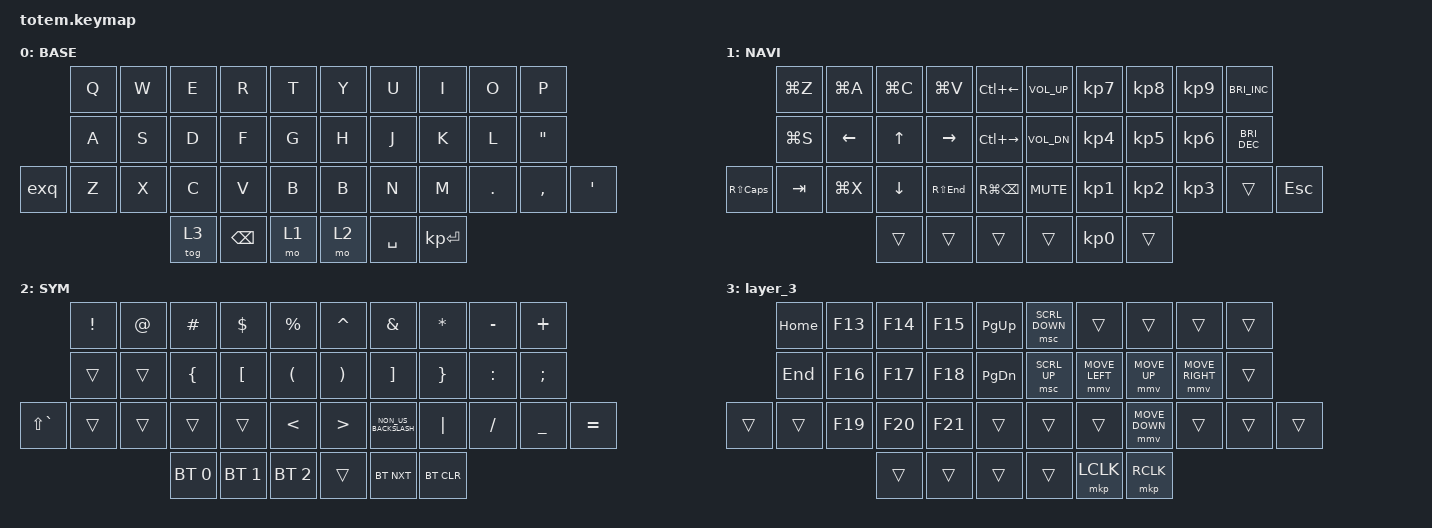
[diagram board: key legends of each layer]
//trigger build
//                                                        ▀▀▀▀▀     ▀▀▀▀▀          ▀▀█▀▀
//                                                        ▄▀▀▀▄  ▄  ▄▀▀▀▄  ▄  ▄▀▀▀▄  █  ▄▀▀▀▄
//                                                        █   █  █  █   █  █  █   █  █  █   █
//                                                         ▀▀▀   █   ▀▀▀   █   ▀▀▀   ▀   ▀▀▀
//                                                               █      ▄▄▄█▄▄▄    █   █  
//                                                               ▀      █  █  █     █▄█
//                                                             ▀▀▀▀▀    █  █  █      ▀
//                                                                      ▀  ▀  ▀
//
// ▄▄▄▄▄▄▄▄▄▄▄▄▄▄▄▄▄▄▄▄▄▄▄▄▄▄▄▄▄▄▄▄▄▄▄▄▄▄▄▄▄▄▄▄▄▄▄▄▄▄▄▄▄▄▄▄▄▄▄▄▄▄▄▄▄▄▄▄▄▄▄▄▄▄▄▄▄▄▄▄▄▄▄▄▄▄▄▄▄▄▄▄▄▄▄▄▄▄▄▄▄▄▄▄▄▄▄▄▄▄▄▄▄▄▄▄▄▄▄▄▄▄▄▄▄▄▄▄▄▄▄▄▄▄▄▄▄▄▄▄▄▄▄▄▄▄▄▄▄

#include <behaviors.dtsi>
#include <dt-bindings/zmk/bt.h>
#include <dt-bindings/zmk/keys.h>
#include <dt-bindings/zmk/pointing.h>

#define BASE 0
#define NAV  1
#define SYM  2
#define ADJ  3
#define TVP1 4
#define TVP2 5

&mt {
    quick-tap-ms = <100>;
    global-quick-tap;
    flavor = "tap-preferred";
    tapping-term-ms = <170>;
};

/ {
    combos {
        compatible = "zmk,combos";

        shiftQ {
            bindings = <&kp RS(Q)>;
            key-positions = <0 10>;
        };

        shiftW {
            bindings = <&kp RS(W)>;
            key-positions = <1 11>;
        };

        shiftE {
            bindings = <&kp RS(E)>;
            key-positions = <2 12>;
        };

        shiftR {
            bindings = <&kp RS(R)>;
            key-positions = <3 13>;
        };

        shiftT {
            bindings = <&kp RS(T)>;
            key-positions = <4 14>;
        };

        shiftO {
            bindings = <&kp LS(O)>;
            key-positions = <8 18>;
        };

        shiftP {
            bindings = <&kp LS(P)>;
            key-positions = <9 19>;
        };

        caps {
            bindings = <&kp CAPS>;
            key-positions = <13 14>;
        };
    };

    macros {
        gif: gif {
            label = "giphy";
            compatible = "zmk,behavior-macro";
            #binding-cells = <0>;
            bindings =
                <&macro_press>,
                <&kp LSHFT>,
                <&macro_tap>,
                <&kp N2>,
                <&macro_release>,
                <&kp LSHFT>,
                <&macro_tap>,
                <&kp G &kp I &kp F>;
        };
    };

    behaviors {
        exq: exq {
            compatible = "zmk,behavior-tap-dance";
            label = "EXQ";
            #binding-cells = <0>;
            bindings = <&kp EXCLAMATION>, <&kp QUESTION>;

            tapping-term-ms = <300>;
        };
    };

    keymap {
        compatible = "zmk,keymap";

        // ▄▄▄▄▄▄▄▄▄▄▄▄▄▄▄▄▄▄▄▄▄▄▄▄▄▄▄▄▄▄▄▄▄▄▄▄▄▄▄▄▄▄▄▄▄▄▄▄▄▄▄▄▄▄▄▄▄▄▄▄▄▄▄▄▄▄▄▄▄▄▄▄▄▄▄▄▄▄▄▄▄▄▄▄▄▄▄▄▄▄▄▄▄▄▄▄▄▄▄▄▄▄▄▄▄▄▄▄▄▄▄▄▄▄▄▄▄▄▄▄▄▄▄▄▄▄▄▄▄▄▄▄▄▄▄▄▄▄▄▄▄▄▄▄▄▄▄▄▄

        base_layer {
            // ┏━━━━━━━━━━━━━━━━━━━━━━━━━━━━━━━━━━━━━━━┓

            label = "BASE";

            // ┗━━━━━━━━━━━━━━━━━━━━━━━━━━━━━━━━━━━━━━━┛
            //             ┏━━━━━━━━━━━┳━━━━━━━━━━━┳━━━━━━━━━━━┳━━━━━━━━━━━┳━━━━━━━━━━━┓   ┏━━━━━━━━━━━┳━━━━━━━━━━━┳━━━━━━━━━━━┳━━━━━━━━━━━┳━━━━━━━━━━━┓
            //             ┃     Q     ┃     W     ┃     F     ┃     P     ┃     G     ┃   ┃     J     ┃     L     ┃     U     ┃     Y     ┃     ;     ┃
            //             ┣━━━━━━━━━━━╋━━━━━━━━━━━╋━━━━━━━━━━━╋━━━━━━━━━━━╋━━━━━━━━━━━┫   ┣━━━━━━━━━━━╋━━━━━━━━━━━╋━━━━━━━━━━━╋━━━━━━━━━━━╋━━━━━━━━━━━┫
            //             ┃     A     ┃     R     ┃     S     ┃     T     ┃     D     ┃   ┃     H     ┃     N     ┃     E     ┃     I     ┃     O     ┃
            // ┏━━━━━━━━━━━╋━━━━━━━━━━━╋━━━━━━━━━━━╋━━━━━━━━━━━╋━━━━━━━━━━━╋━━━━━━━━━━━┫   ┣━━━━━━━━━━━╋━━━━━━━━━━━╋━━━━━━━━━━━╋━━━━━━━━━━━╋━━━━━━━━━━━╋━━━━━━━━━━━┓
            // ┃     Q     ┃     Z     ┃     X     ┃     C     ┃     V     ┃     B     ┃   ┃     K     ┃     M     ┃     ,     ┃     .     ┃     /     ┃     \     ┃
            // ┗━━━━━━━━━━━┻━━━━━━━━━━━┻━━━━━━━━━━━╋━━━━━━━━━━━╋━━━━━━━━━━━╋━━━━━━━━━━━┫   ┣━━━━━━━━━━━╋━━━━━━━━━━━╋━━━━━━━━━━━╋━━━━━━━━━━━┻━━━━━━━━━━━┻━━━━━━━━━━━┛
            //                                     ┃    DEL    ┃    TAB    ┃    SPC    ┃   ┃   ENTER   ┃           ┃   BSPC    ┃
            //                                     ┗━━━━━━━━━━━┻━━━━━━━━━━━┻━━━━━━━━━━━┛   ┗━━━━━━━━━━━┻━━━━━━━━━━━┻━━━━━━━━━━━┛

            bindings = <
      &kp Q  &kp W  &kp E   &kp R          &kp T    &kp Y  &kp U      &kp I         &kp O    &kp P
      &kp A  &kp S  &kp D   &kp F          &kp G    &kp H  &kp J      &kp K         &kp L    &kp DOUBLE_QUOTES
&exq  &kp Z  &kp X  &kp C   &kp V          &kp B    &kp B  &kp N      &kp M         &kp DOT  &kp COMMA          &kp SQT
                    &tog 3  &kp BACKSPACE  &mo 1    &mo 2  &kp SPACE  &kp KP_ENTER
            >;
        };

        // ▄▄▄▄▄▄▄▄▄▄▄▄▄▄▄▄▄▄▄▄▄▄▄▄▄▄▄▄▄▄▄▄▄▄▄▄▄▄▄▄▄▄▄▄▄▄▄▄▄▄▄▄▄▄▄▄▄▄▄▄▄▄▄▄▄▄▄▄▄▄▄▄▄▄▄▄▄▄▄▄▄▄▄▄▄▄▄▄▄▄▄▄▄▄▄▄▄▄▄▄▄▄▄▄▄▄▄▄▄▄▄▄▄▄▄▄▄▄▄▄▄▄▄▄▄▄▄▄▄▄▄▄▄▄▄▄▄▄▄▄▄▄▄▄▄▄▄▄▄

        nav_layer {
            // ┏━━━━━━━━━━━━━━━━━━━━━━━━━━━━━━━━━━━━━━━┓

            label = "NAVI";

            // ┗━━━━━━━━━━━━━━━━━━━━━━━━━━━━━━━━━━━━━━━┛
            //             ┏━━━━━━━━━━━┳━━━━━━━━━━━┳━━━━━━━━━━━┳━━━━━━━━━━━┳━━━━━━━━━━━┓   ┏━━━━━━━━━━━┳━━━━━━━━━━━┳━━━━━━━━━━━┳━━━━━━━━━━━┳━━━━━━━━━━━┓
            //             ┃           ┃           ┃     UP    ┃           ┃     {     ┃   ┃     }     ┃     7     ┃     8     ┃     9     ┃     +     ┃
            //             ┣━━━━━━━━━━━╋━━━━━━━━━━━╋━━━━━━━━━━━╋━━━━━━━━━━━╋━━━━━━━━━━━┫   ┣━━━━━━━━━━━╋━━━━━━━━━━━╋━━━━━━━━━━━╋━━━━━━━━━━━╋━━━━━━━━━━━┫
            //             ┃   SHIFT   ┃   LEFT    ┃    DOWN   ┃   RIGHT   ┃     [     ┃   ┃     ]     ┃     4     ┃     5     ┃     6     ┃     -     ┃
            // ┏━━━━━━━━━━━╋━━━━━━━━━━━╋━━━━━━━━━━━╋━━━━━━━━━━━╋━━━━━━━━━━━╋━━━━━━━━━━━┫   ┣━━━━━━━━━━━╋━━━━━━━━━━━╋━━━━━━━━━━━╋━━━━━━━━━━━╋━━━━━━━━━━━╋━━━━━━━━━━━┓
            // ┃           ┃           ┃   P UP    ┃  C LOCK   ┃  P DOWN   ┃     (     ┃   ┃     )     ┃     1     ┃     2     ┃     3     ┃     *     ┃           ┃
            // ┗━━━━━━━━━━━┻━━━━━━━━━━━┻━━━━━━━━━━━╋━━━━━━━━━━━╋━━━━━━━━━━━╋━━━━━━━━━━━┫   ┣━━━━━━━━━━━╋━━━━━━━━━━━╋━━━━━━━━━━━╋━━━━━━━━━━━┻━━━━━━━━━━━┻━━━━━━━━━━━┛
            //                                     ┃           ┃    TAB    ┃    SPC    ┃   ┃    DEL    ┃     0     ┃           ┃
            //                                     ┗━━━━━━━━━━━┻━━━━━━━━━━━┻━━━━━━━━━━━┛   ┗━━━━━━━━━━━┻━━━━━━━━━━━┻━━━━━━━━━━━┛

            bindings = <
              &kp LG(Z)  &kp LG(A)  &kp LG(C)  &kp LG(V)    &kp LC(LEFT)         &kp C_VOL_UP  &kp KP_N7  &kp KP_N8  &kp KP_N9  &kp C_BRI_INC
              &kp LG(S)  &kp LEFT   &kp UP     &kp RIGHT    &kp LC(RIGHT)        &kp C_VOL_DN  &kp KP_N4  &kp KP_N5  &kp KP_N6  &kp C_BRI_DEC
&kp RS(CAPS)  &kp TAB    &kp LG(X)  &kp DOWN   &kp RS(END)  &kp RG(BACKSPACE)    &kp K_MUTE    &kp KP_N1  &kp KP_N2  &kp KP_N3  &trans         &kp ESC
                                    &trans     &trans       &trans               &trans        &kp KP_N0  &trans
            >;
        };

        // ▄▄▄▄▄▄▄▄▄▄▄▄▄▄▄▄▄▄▄▄▄▄▄▄▄▄▄▄▄▄▄▄▄▄▄▄▄▄▄▄▄▄▄▄▄▄▄▄▄▄▄▄▄▄▄▄▄▄▄▄▄▄▄▄▄▄▄▄▄▄▄▄▄▄▄▄▄▄▄▄▄▄▄▄▄▄▄▄▄▄▄▄▄▄▄▄▄▄▄▄▄▄▄▄▄▄▄▄▄▄▄▄▄▄▄▄▄▄▄▄▄▄▄▄▄▄▄▄▄▄▄▄▄▄▄▄▄▄▄▄▄▄▄▄▄▄▄▄▄

        sim_layer {
            // ┏━━━━━━━━━━━━━━━━━━━━━━━━━━━━━━━━━━━━━━━┓

            label = "SYM";

            // ┗━━━━━━━━━━━━━━━━━━━━━━━━━━━━━━━━━━━━━━━┛
            //             ┏━━━━━━━━━━━┳━━━━━━━━━━━┳━━━━━━━━━━━┳━━━━━━━━━━━┳━━━━━━━━━━━┓   ┏━━━━━━━━━━━┳━━━━━━━━━━━┳━━━━━━━━━━━┳━━━━━━━━━━━┳━━━━━━━━━━━┓
            //             ┃     !     ┃     @     ┃     #     ┃     $     ┃     %     ┃   ┃     ˆ     ┃     &     ┃     Ü     ┃     '     ┃     "     ┃
            //             ┣━━━━━━━━━━━╋━━━━━━━━━━━╋━━━━━━━━━━━╋━━━━━━━━━━━╋━━━━━━━━━━━┫   ┣━━━━━━━━━━━╋━━━━━━━━━━━╋━━━━━━━━━━━╋━━━━━━━━━━━╋━━━━━━━━━━━┫
            //             ┃     Ä     ┃           ┃    SZ     ┃           ┃           ┃   ┃   MUTE    ┃   YEN     ┃   EURO    ┃  POUND    ┃     Ö     ┃
            // ┏━━━━━━━━━━━╋━━━━━━━━━━━╋━━━━━━━━━━━╋━━━━━━━━━━━╋━━━━━━━━━━━╋━━━━━━━━━━━┫   ┣━━━━━━━━━━━╋━━━━━━━━━━━╋━━━━━━━━━━━╋━━━━━━━━━━━╋━━━━━━━━━━━╋━━━━━━━━━━━┓
            // ┃           ┃  EMAIL1   ┃  EMAIL2   ┃           ┃           ┃           ┃   ┃   VOL-    ┃   VOL+    ┃   LAST    ┃   NEXT    ┃     \     ┃           ┃
            // ┗━━━━━━━━━━━┻━━━━━━━━━━━┻━━━━━━━━━━━╋━━━━━━━━━━━╋━━━━━━━━━━━╋━━━━━━━━━━━┫   ┣━━━━━━━━━━━╋━━━━━━━━━━━╋━━━━━━━━━━━╋━━━━━━━━━━━┻━━━━━━━━━━━┻━━━━━━━━━━━┛
            //                                     ┃           ┃    GIF    ┃    ADJ    ┃   ┃           ┃           ┃           ┃
            //                                     ┗━━━━━━━━━━━┻━━━━━━━━━━━┻━━━━━━━━━━━┛   ┗━━━━━━━━━━━┻━━━━━━━━━━━┻━━━━━━━━━━━┛

            bindings = <
               &kp EXCL  &kp AT  &kp HASH        &kp DLLR          &kp PRCNT               &kp CARET              &kp AMPS              &kp ASTERISK     &kp MINUS  &kp PLUS
               &trans    &trans  &kp LEFT_BRACE  &kp LEFT_BRACKET  &kp LEFT_PARENTHESIS    &kp RIGHT_PARENTHESIS  &kp RIGHT_BRACKET     &kp RIGHT_BRACE  &kp COLON  &kp SEMICOLON
&kp LS(GRAVE)  &trans    &trans  &trans          &trans            &kp LESS_THAN           &kp GREATER_THAN       &kp NON_US_BACKSLASH  &kp PIPE         &kp SLASH  &kp UNDERSCORE  &kp EQUAL
                                 &bt BT_SEL 0    &bt BT_SEL 1      &bt BT_SEL 2            &trans                 &bt BT_NXT            &bt BT_CLR
            >;
        };

        layer_3 {
            bindings = <
        &kp HOME  &kp F13  &kp F14  &kp F15  &kp PAGE_UP      &msc SCRL_DOWN  &trans          &trans          &trans           &trans
        &kp END   &kp F16  &kp F17  &kp F18  &kp PAGE_DOWN    &msc SCRL_UP    &mmv MOVE_LEFT  &mmv MOVE_UP    &mmv MOVE_RIGHT  &trans
&trans  &trans    &kp F19  &kp F20  &kp F21  &trans           &trans          &trans          &mmv MOVE_DOWN  &trans           &trans  &trans
                           &trans   &trans   &trans           &trans          &mkp LCLK       &mkp RCLK
            >;
        };

        // ▄▄▄▄▄▄▄▄▄▄▄▄▄▄▄▄▄▄▄▄▄▄▄▄▄▄▄▄▄▄▄▄▄▄▄▄▄▄▄▄▄▄▄▄▄▄▄▄▄▄▄▄▄▄▄▄▄▄▄▄▄▄▄▄▄▄▄▄▄▄▄▄▄▄▄▄▄▄▄▄▄▄▄▄▄▄▄▄▄▄▄▄▄▄▄▄▄▄▄▄▄▄▄▄▄▄▄▄▄▄▄▄▄▄▄▄▄▄▄▄▄▄▄▄▄▄▄▄▄▄▄▄▄▄▄▄▄▄▄▄▄▄▄▄▄▄▄▄▄
        // ▄▄▄▄▄▄▄▄▄▄▄▄▄▄▄▄▄▄▄▄▄▄▄▄▄▄▄▄▄▄▄▄▄▄▄▄▄▄▄▄▄▄▄▄▄▄▄▄▄▄▄▄▄▄▄▄▄▄▄▄▄▄▄▄▄▄▄▄▄▄▄▄▄▄▄▄▄▄▄▄▄▄▄▄▄▄▄▄▄▄▄▄▄▄▄▄▄▄▄▄▄▄▄▄▄▄▄▄▄▄▄▄▄▄▄▄▄▄▄▄▄▄▄▄▄▄▄▄▄▄▄▄▄▄▄▄▄▄▄▄▄▄▄▄▄▄▄▄▄
        // ▄▄▄▄▄▄▄▄▄▄▄▄▄▄▄▄▄▄▄▄▄▄▄▄▄▄▄▄▄▄▄▄▄▄▄▄▄▄▄▄▄▄▄▄▄▄▄▄▄▄▄▄▄▄▄▄▄▄▄▄▄▄▄▄▄▄▄▄▄▄▄▄▄▄▄▄▄▄▄▄▄▄▄▄▄▄▄▄▄▄▄▄▄▄▄▄▄▄▄▄▄▄▄▄▄▄▄▄▄▄▄▄▄▄▄▄▄▄▄▄▄▄▄▄▄▄▄▄▄▄▄▄▄▄▄▄▄▄▄▄▄▄▄▄▄▄▄▄▄
    };
};
